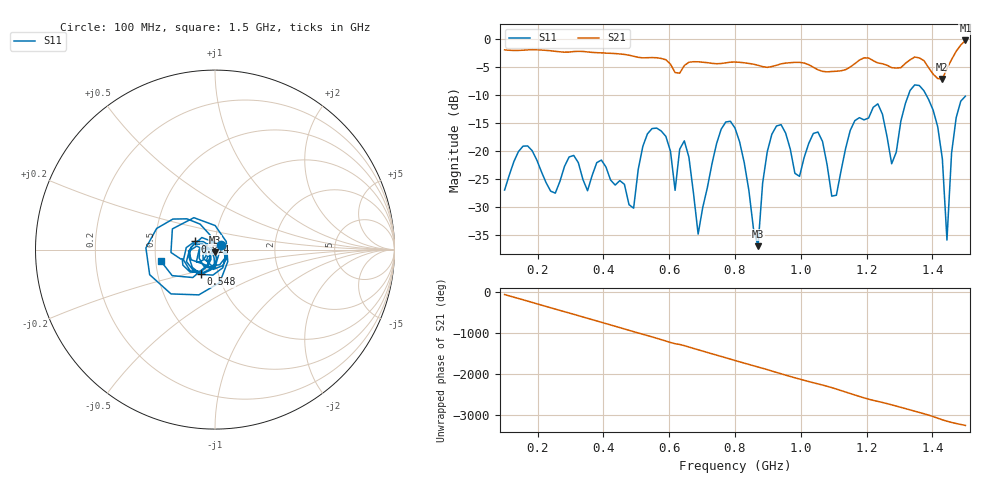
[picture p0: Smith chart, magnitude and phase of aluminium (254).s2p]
! NanoVNA-App
! Date: 2025-09-25 14:57:15
! Start: 100MHz Stop: 1,5GHz Points: 101
! S-Parameter data: F S11 S21 S12 S22
# Hz S RI R 50
!  Frequency  S11_Real  S11_Imag  S21_Real  S21_Imag  S12_Real  S12_Imag  S22_Real  S22_Imag
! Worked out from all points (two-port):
!   101 points, 100 MHz to 1.5 GHz, reference 50 ohm
!   highest |S21| = -0.24 dB at 1.5 GHz (marker M1); lowest = -7.1 dB at 1.43 GHz (marker M2)
!   |S21| within 3 dB of the highest: start of sweep to 505 MHz; 1.462 GHz to end of sweep (the widest 2 of 3)
!   lowest |S11| = -37.0 dB at 870 MHz (marker M3), VSWR 1.03, Z = 49.9 - j1.41 ohm
!   |S11| at or under -10 dB: start of sweep to 1.327 GHz; 1.381 GHz to end of sweep
!   S12 and S22 are empty: the file has one direction only
!   S11 on the Smith chart (normalised r, x): 100 MHz: 1.07, +0.06; 548 MHz: 0.82, -0.23; 814 MHz: 0.80, +0.07; 1.5 GHz: 0.53, -0.07
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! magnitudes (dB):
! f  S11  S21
! 100 MHz  -27.0  -1.9
! 338 MHz  -25.1  -2.2
! 492 MHz  -30.2  -3.1
! 548 MHz  -16.0  -3.3
! 576 MHz  -16.4  -3.5
! 618 MHz  -27.0  -6.0
! 646 MHz  -18.2  -4.7
! 688 MHz  -34.8  -4.0
! 800 MHz  -15.9  -4.1
! 814 MHz  -18.4  -4.1
! 870 MHz  -37.0  -4.7
! 912 MHz  -17.0  -4.9
! 996 MHz  -24.5  -4.2
! 1.038 GHz  -16.9  -5.0
! 1.094 GHz  -28.1  -5.8
! 1.234 GHz  -11.6  -4.3
! 1.276 GHz  -22.3  -5.1
! 1.346 GHz  -8.2  -3.2
! 1.43 GHz  -21.4  -7.1
! 1.444 GHz  -35.9  -5.3
! 1.458 GHz  -20.4  -3.7
! 1.5 GHz  -10.2  -0.2
